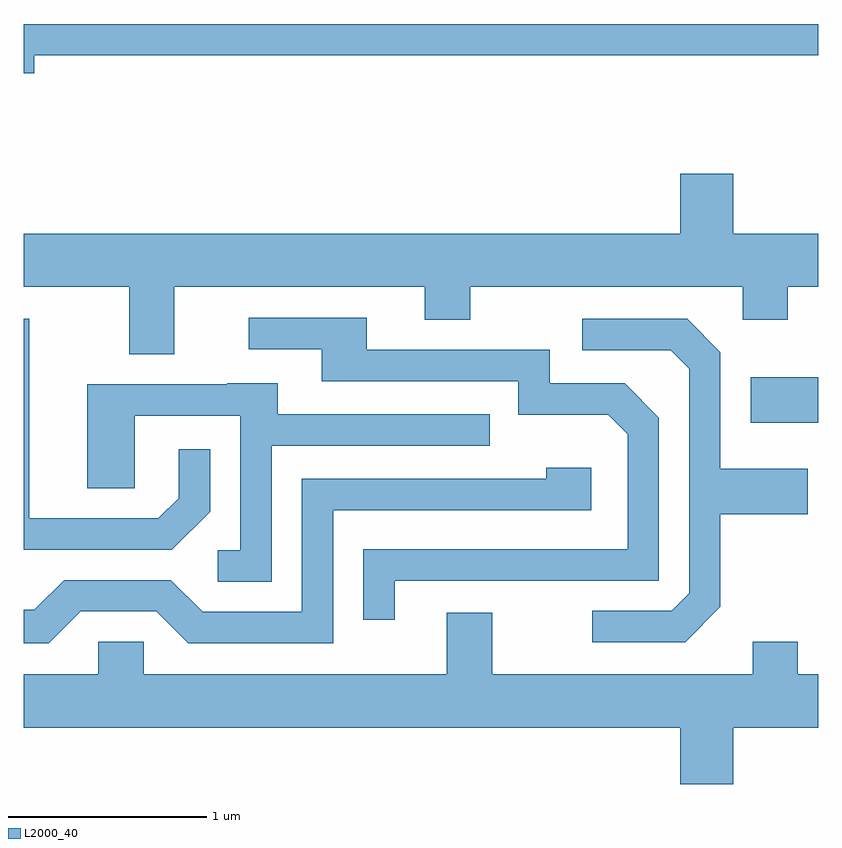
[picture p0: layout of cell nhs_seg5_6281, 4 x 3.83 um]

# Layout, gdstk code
import gdstk
lib = gdstk.Library(unit=1e-6, precision=1e-09)
def R(c, l, rs):  # rectangles x0, y0, x1, y1
    for r in rs: c.add(gdstk.rectangle(r[:2], r[2:], *l))
def P(c, l, *ps):  # polygons
    for p in ps: c.add(gdstk.Polygon(p, *l))
L2000_40 = (2000, 40)

nhs_seg5_6281 = lib.new_cell('nhs_seg5_6281')
R(nhs_seg5_6281, L2000_40, [(375.271,1453.891,375.611,1454.119)])
P(nhs_seg5_6281, L2000_40, [(371.664,1455.741),(375.611,1455.741),(375.611,1455.899),(371.611,1455.899),(371.611,1455.651),(371.664,1455.651)],
  [(372.369,1454.576),(373.631,1454.576),(373.631,1454.411),(373.859,1454.411),(373.859,1454.576),(375.231,1454.576),(375.231,1454.411),(375.459,1454.411),(375.459,1454.576),(375.611,1454.576),(375.611,1454.844),(375.184,1454.844),(375.184,1455.144),(374.916,1455.144),(374.916,1454.844),(371.611,1454.844),(371.611,1454.576),(372.141,1454.576),(372.141,1454.236),(372.369,1454.236)],
  [(373.479,1453.096),(374.809,1453.096),(374.809,1453.917),(374.637,1454.089),(374.259,1454.089),(374.259,1454.259),(373.339,1454.259),(373.339,1454.419),(372.743,1454.419),(372.743,1454.261),(373.111,1454.261),(373.111,1454.101),(374.101,1454.101),(374.101,1453.931),(374.554,1453.931),(374.651,1453.834),(374.651,1453.254),(373.321,1453.254),(373.321,1452.898),(373.479,1452.898)],
  [(375.119,1452.964),(375.119,1453.431),(375.559,1453.431),(375.559,1453.659),(375.119,1453.659),(375.119,1454.247),(374.952,1454.414),(374.423,1454.414),(374.423,1454.256),(374.869,1454.256),(374.961,1454.164),(374.961,1453.032),(374.874,1452.944),(374.473,1452.944),(374.473,1452.786),(374.942,1452.786)],
  [(372.549,1453.444),(372.549,1453.758),(372.391,1453.758),(372.391,1453.512),(372.289,1453.409),(371.639,1453.409),(371.639,1454.414),(371.611,1454.414),(371.611,1453.251),(372.357,1453.251)],
  [(372.859,1453.776),(373.958,1453.776),(373.958,1453.934),(372.889,1453.934),(372.889,1454.089),(372.635,1454.089),(372.635,1454.084),(371.931,1454.084),(371.931,1453.561),(372.169,1453.561),(372.169,1453.926),(372.701,1453.926),(372.701,1453.249),(372.588,1453.249),(372.588,1453.091),(372.859,1453.091)],
  [(371.897,1452.941),(372.279,1452.941),(372.439,1452.781),(373.169,1452.781),(373.169,1453.451),(374.469,1453.451),(374.469,1453.664),(374.241,1453.664),(374.241,1453.609),(373.011,1453.609),(373.011,1452.939),(372.512,1452.939),(372.352,1453.099),(371.814,1453.099),(371.664,1452.949),(371.611,1452.949),(371.611,1452.781),(371.737,1452.781)],
  [(374.916,1452.072),(375.184,1452.072),(375.184,1452.356),(375.611,1452.356),(375.611,1452.624),(375.509,1452.624),(375.509,1452.789),(375.281,1452.789),(375.281,1452.624),(373.969,1452.624),(373.969,1452.934),(373.741,1452.934),(373.741,1452.624),(372.214,1452.624),(372.214,1452.789),(371.986,1452.789),(371.986,1452.624),(371.611,1452.624),(371.611,1452.356),(374.916,1452.356)])

lib.write_gds('nhs_seg5_6281.gds')
